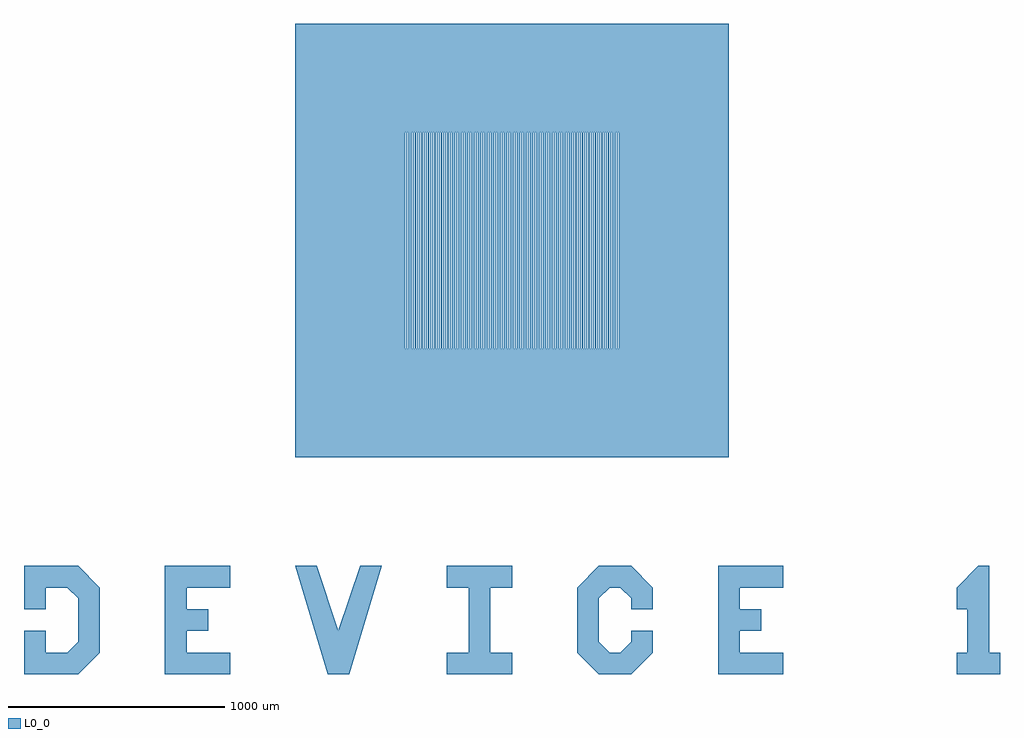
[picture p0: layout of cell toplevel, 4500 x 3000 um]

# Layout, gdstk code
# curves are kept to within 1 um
import gdstk
lib = gdstk.Library(unit=1e-6, precision=1e-09)
def R(c, l, rs):  # rectangles x0, y0, x1, y1
    for r in rs: c.add(gdstk.rectangle(r[:2], r[2:], *l))
def P(c, l, *ps):  # polygons
    for p in ps: c.add(gdstk.Polygon(p, *l))
L0_0 = (0, 0)

boolean = lib.new_cell('boolean')
P(boolean, L0_0, [(1000,1000),(-1000,1000),(-1000,-500),(-498,-500),(-498,500),(498,500),(498,-500),(-498,-500),(-1000,-500),(-1000,-1000),(1000,-1000)])

rectangle = lib.new_cell('rectangle')
R(rectangle, L0_0, [(0,0,6,1000)])

grating = lib.new_cell('grating')
grating.add(gdstk.Reference(rectangle, (-498,-500)))
grating.add(gdstk.Reference(rectangle, (-488,-500)))
grating.add(gdstk.Reference(rectangle, (-478,-500)))
grating.add(gdstk.Reference(rectangle, (-468,-500)))
grating.add(gdstk.Reference(rectangle, (-458,-500)))
grating.add(gdstk.Reference(rectangle, (-448,-500)))
grating.add(gdstk.Reference(rectangle, (-438,-500)))
grating.add(gdstk.Reference(rectangle, (-428,-500)))
grating.add(gdstk.Reference(rectangle, (-418,-500)))
grating.add(gdstk.Reference(rectangle, (-408,-500)))
grating.add(gdstk.Reference(rectangle, (-398,-500)))
grating.add(gdstk.Reference(rectangle, (-388,-500)))
grating.add(gdstk.Reference(rectangle, (-378,-500)))
grating.add(gdstk.Reference(rectangle, (-368,-500)))
grating.add(gdstk.Reference(rectangle, (-358,-500)))
grating.add(gdstk.Reference(rectangle, (-348,-500)))
grating.add(gdstk.Reference(rectangle, (-338,-500)))
grating.add(gdstk.Reference(rectangle, (-328,-500)))
grating.add(gdstk.Reference(rectangle, (-318,-500)))
grating.add(gdstk.Reference(rectangle, (-308,-500)))
grating.add(gdstk.Reference(rectangle, (-298,-500)))
grating.add(gdstk.Reference(rectangle, (-288,-500)))
grating.add(gdstk.Reference(rectangle, (-278,-500)))
grating.add(gdstk.Reference(rectangle, (-268,-500)))
grating.add(gdstk.Reference(rectangle, (-258,-500)))
grating.add(gdstk.Reference(rectangle, (-248,-500)))
grating.add(gdstk.Reference(rectangle, (-238,-500)))
grating.add(gdstk.Reference(rectangle, (-228,-500)))
grating.add(gdstk.Reference(rectangle, (-218,-500)))
grating.add(gdstk.Reference(rectangle, (-208,-500)))
grating.add(gdstk.Reference(rectangle, (-198,-500)))
grating.add(gdstk.Reference(rectangle, (-188,-500)))
grating.add(gdstk.Reference(rectangle, (-178,-500)))
grating.add(gdstk.Reference(rectangle, (-168,-500)))
grating.add(gdstk.Reference(rectangle, (-158,-500)))
grating.add(gdstk.Reference(rectangle, (-148,-500)))
grating.add(gdstk.Reference(rectangle, (-138,-500)))
grating.add(gdstk.Reference(rectangle, (-128,-500)))
grating.add(gdstk.Reference(rectangle, (-118,-500)))
grating.add(gdstk.Reference(rectangle, (-108,-500)))
grating.add(gdstk.Reference(rectangle, (-98,-500)))
grating.add(gdstk.Reference(rectangle, (-88,-500)))
grating.add(gdstk.Reference(rectangle, (-78,-500)))
grating.add(gdstk.Reference(rectangle, (-68,-500)))
grating.add(gdstk.Reference(rectangle, (-58,-500)))
grating.add(gdstk.Reference(rectangle, (-48,-500)))
grating.add(gdstk.Reference(rectangle, (-38,-500)))
grating.add(gdstk.Reference(rectangle, (-28,-500)))
grating.add(gdstk.Reference(rectangle, (-18,-500)))
grating.add(gdstk.Reference(rectangle, (-8,-500)))
grating.add(gdstk.Reference(rectangle, (2,-500)))
grating.add(gdstk.Reference(rectangle, (12,-500)))
grating.add(gdstk.Reference(rectangle, (22,-500)))
grating.add(gdstk.Reference(rectangle, (32,-500)))
grating.add(gdstk.Reference(rectangle, (42,-500)))
grating.add(gdstk.Reference(rectangle, (52,-500)))
grating.add(gdstk.Reference(rectangle, (62,-500)))
grating.add(gdstk.Reference(rectangle, (72,-500)))
grating.add(gdstk.Reference(rectangle, (82,-500)))
grating.add(gdstk.Reference(rectangle, (92,-500)))
grating.add(gdstk.Reference(rectangle, (102,-500)))
grating.add(gdstk.Reference(rectangle, (112,-500)))
grating.add(gdstk.Reference(rectangle, (122,-500)))
grating.add(gdstk.Reference(rectangle, (132,-500)))
grating.add(gdstk.Reference(rectangle, (142,-500)))
grating.add(gdstk.Reference(rectangle, (152,-500)))
grating.add(gdstk.Reference(rectangle, (162,-500)))
grating.add(gdstk.Reference(rectangle, (172,-500)))
grating.add(gdstk.Reference(rectangle, (182,-500)))
grating.add(gdstk.Reference(rectangle, (192,-500)))
grating.add(gdstk.Reference(rectangle, (202,-500)))
grating.add(gdstk.Reference(rectangle, (212,-500)))
grating.add(gdstk.Reference(rectangle, (222,-500)))
grating.add(gdstk.Reference(rectangle, (232,-500)))
grating.add(gdstk.Reference(rectangle, (242,-500)))
grating.add(gdstk.Reference(rectangle, (252,-500)))
grating.add(gdstk.Reference(rectangle, (262,-500)))
grating.add(gdstk.Reference(rectangle, (272,-500)))
grating.add(gdstk.Reference(rectangle, (282,-500)))
grating.add(gdstk.Reference(rectangle, (292,-500)))
grating.add(gdstk.Reference(rectangle, (302,-500)))
grating.add(gdstk.Reference(rectangle, (312,-500)))
grating.add(gdstk.Reference(rectangle, (322,-500)))
grating.add(gdstk.Reference(rectangle, (332,-500)))
grating.add(gdstk.Reference(rectangle, (342,-500)))
grating.add(gdstk.Reference(rectangle, (352,-500)))
grating.add(gdstk.Reference(rectangle, (362,-500)))
grating.add(gdstk.Reference(rectangle, (372,-500)))
grating.add(gdstk.Reference(rectangle, (382,-500)))
grating.add(gdstk.Reference(rectangle, (392,-500)))
grating.add(gdstk.Reference(rectangle, (402,-500)))
grating.add(gdstk.Reference(rectangle, (412,-500)))
grating.add(gdstk.Reference(rectangle, (422,-500)))
grating.add(gdstk.Reference(rectangle, (432,-500)))
grating.add(gdstk.Reference(rectangle, (442,-500)))
grating.add(gdstk.Reference(rectangle, (452,-500)))
grating.add(gdstk.Reference(rectangle, (462,-500)))
grating.add(gdstk.Reference(rectangle, (472,-500)))
grating.add(gdstk.Reference(rectangle, (482,-500)))
grating.add(gdstk.Reference(rectangle, (492,-500)))

text = lib.new_cell('text')
P(text, L0_0, [(-2250,0),(-2250,200),(-2150,200),(-2150,100),(-2050,100),(-2000,150),(-2000,350),(-2050,400),(-2150,400),(-2150,300),(-2250,300),(-2250,500),(-2000,500),(-1900,400),(-1900,100),(-2000,0)],
  [(-1300,500),(-1300,400),(-1500,400),(-1500,300),(-1400,300),(-1400,200),(-1500,200),(-1500,100),(-1300,100),(-1300,0),(-1600,0),(-1600,500),(-1300,500)],
  [(-900,500),(-800,200),(-700,500),(-600,500),(-750,0),(-850,0),(-1000,500),(-900,500)],
  [(-300,0),(-300,100),(-200,100),(-200,400),(-300,400),(-300,500),(0,500),(0,400),(-100,400),(-100,100),(0,100),(0,0),(-300,0)],
  [(400,0),(300,100),(300,400),(400,500),(550,500),(650,400),(650,300),(550,300),(550,350),(500,400),(450,400),(400,350),(400,150),(450,100),(500,100),(550,150),(550,200),(650,200),(650,100),(550,0)],
  [(1250,500),(1250,400),(1050,400),(1050,300),(1150,300),(1150,200),(1050,200),(1050,100),(1250,100),(1250,0),(950,0),(950,500),(1250,500)],
  [(2100,300),(2050,300),(2050,400),(2150,500),(2200,500),(2200,100),(2250,100),(2250,0),(2050,0),(2050,100),(2100,100)])

toplevel = lib.new_cell('toplevel')
toplevel.add(gdstk.Reference(boolean, (0,0)))
toplevel.add(gdstk.Reference(grating, (0,0)))
toplevel.add(gdstk.Reference(text, (0,-2000)))

lib.write_gds('toplevel.gds')
